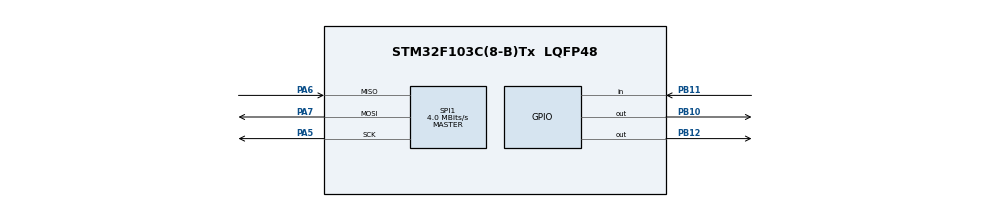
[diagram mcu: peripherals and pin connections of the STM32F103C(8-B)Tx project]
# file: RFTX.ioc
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Mcu.Family=STM32F1
Mcu.Name=STM32F103C(8-B)Tx
Mcu.Package=LQFP48
NVIC.PriorityGroup=NVIC_PRIORITYGROUP_4
PA5.Mode=Full_Duplex_Master
PA5.Signal=SPI1_SCK
PA6.Mode=Full_Duplex_Master
PA6.Signal=SPI1_MISO
PA7.Mode=Full_Duplex_Master
PA7.Signal=SPI1_MOSI
PB10.Signal=GPIO_Output
PB11.GPIO_PuPd=GPIO_PULLUP
PB11.Signal=GPIO_Input
PB12.Signal=GPIO_Output
ProjectManager.HeapSize=0x200
ProjectManager.StackSize=0x400
ProjectManager.TargetToolchain=STM32CubeIDE
RCC.APB1Freq_Value=8000000
RCC.APB2Freq_Value=8000000
SPI1.CalculateBaudRate=4.0 MBits/s
SPI1.Direction=SPI_DIRECTION_2LINES
SPI1.Mode=SPI_MODE_MASTER
SPI1.VirtualType=VM_MASTER
VP_SYS_VS_ND.Mode=No_Debug
board=custom

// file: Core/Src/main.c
/* USER CODE BEGIN Header */
/**
  ******************************************************************************
  * @file           : main.c
  * @brief          : Main program body
  ******************************************************************************
  * @attention
  *
  * Copyright (c) 2025 STMicroelectronics.
  * All rights reserved.
  *
  * This software is licensed under terms that can be found in the LICENSE file
  * in the root directory of this software component.
  * If no LICENSE file comes with this software, it is provided AS-IS.
  *
  ******************************************************************************
  */
/* USER CODE END Header */
#include "main.h"

/* USER CODE BEGIN Includes */
#include "nrf24l01.h"
/* USER CODE END Includes */

/* USER CODE BEGIN PD */
#define SIZE_TX_BUF 1
/* USER CODE END PD */

SPI_HandleTypeDef hspi1;
/* USER CODE BEGIN PV */
nrf24 nrfTx;
uint8_t status_tx;
uint8_t tx_data[SIZE_TX_BUF]={"1"};
uint8_t txAddr[] = {0xEA, 0xDD, 0xCC, 0xBB, 0xAA};
/* USER CODE END PV */

void SystemClock_Config(void);
static void MX_GPIO_Init(void);
static void MX_SPI1_Init(void);

int main(void)
{

  /* USER CODE BEGIN 1 */
	//pines
	/*
	 * PA5 SCK
	 * PA6 MISO
	 * PA7 MOSI
	 *
	 * PB10 CE
	 * PB11 IRQ
	 * PB12 CSN
	 *
	 * */
  /* USER CODE END 1 */

  /* MCU Configuration--------------------------------------------------------*/

  /* Reset of all peripherals, Initializes the Flash interface and the Systick. */
  HAL_Init();

  /* Configure the system clock */
  SystemClock_Config();

  /* Initialize all configured peripherals */
  MX_GPIO_Init();
  MX_SPI1_Init();
  /* USER CODE BEGIN 2 */
  	nrfTx.CE_port = GPIOB;
    nrfTx.CE_pin = GPIO_PIN_10;//DISPARA LA TRANSMISION
    nrfTx.CSN_port = GPIOB;
    nrfTx.CSN_pin = GPIO_PIN_12;//HABILITA LA COMUNICACION POR SPI
    nrfTx.IRQ_port=GPIOB;
    nrfTx.IRQ_pin = GPIO_PIN_11;//DETECTA SI SE RECIBIO ALGUN DATO
    nrfTx.hSPIx = &hspi1;
  	NRF24_Init(&nrfTx);
  	NRF24_Set_TxAddress(&nrfTx,txAddr);
  /* USER CODE END 2 */

  /* Infinite loop */
  while (1)
  {

    /* USER CODE BEGIN 3 */
	  NRF24_Set_Mode(&nrfTx, TX_MODE);
	  		status_tx = NRF24_Transmit(&nrfTx, tx_data, sizeof(tx_data));

	  		if(status_tx == 1)
	  		{
	  			NRF24_Set_Mode(&nrfTx, STANDBY);
	  		}
	  		HAL_Delay(20);
  }
  /* USER CODE END 3 */
}

void SystemClock_Config(void)
{
  RCC_OscInitTypeDef RCC_OscInitStruct = {0};
  RCC_ClkInitTypeDef RCC_ClkInitStruct = {0};

  /** Initializes the RCC Oscillators according to the specified parameters
  * in the RCC_OscInitTypeDef structure.
  */
  RCC_OscInitStruct.OscillatorType = RCC_OSCILLATORTYPE_HSI;
  RCC_OscInitStruct.HSIState = RCC_HSI_ON;
  RCC_OscInitStruct.HSICalibrationValue = RCC_HSICALIBRATION_DEFAULT;
  RCC_OscInitStruct.PLL.PLLState = RCC_PLL_NONE;
  if (HAL_RCC_OscConfig(&RCC_OscInitStruct) != HAL_OK)
  {
    Error_Handler();
  }

  /** Initializes the CPU, AHB and APB buses clocks
  */
  RCC_ClkInitStruct.ClockType = RCC_CLOCKTYPE_HCLK|RCC_CLOCKTYPE_SYSCLK
                              |RCC_CLOCKTYPE_PCLK1|RCC_CLOCKTYPE_PCLK2;
  RCC_ClkInitStruct.SYSCLKSource = RCC_SYSCLKSOURCE_HSI;
  RCC_ClkInitStruct.AHBCLKDivider = RCC_SYSCLK_DIV1;
  RCC_ClkInitStruct.APB1CLKDivider = RCC_HCLK_DIV1;
  RCC_ClkInitStruct.APB2CLKDivider = RCC_HCLK_DIV1;

  if (HAL_RCC_ClockConfig(&RCC_ClkInitStruct, FLASH_LATENCY_0) != HAL_OK)
  {
    Error_Handler();
  }
}

static void MX_SPI1_Init(void)
{

  /* SPI1 parameter configuration*/
  hspi1.Instance = SPI1;
  hspi1.Init.Mode = SPI_MODE_MASTER;
  hspi1.Init.Direction = SPI_DIRECTION_2LINES;
  hspi1.Init.DataSize = SPI_DATASIZE_8BIT;
  hspi1.Init.CLKPolarity = SPI_POLARITY_LOW;
  hspi1.Init.CLKPhase = SPI_PHASE_1EDGE;
  hspi1.Init.NSS = SPI_NSS_SOFT;
  hspi1.Init.BaudRatePrescaler = SPI_BAUDRATEPRESCALER_2;
  hspi1.Init.FirstBit = SPI_FIRSTBIT_MSB;
  hspi1.Init.TIMode = SPI_TIMODE_DISABLE;
  hspi1.Init.CRCCalculation = SPI_CRCCALCULATION_DISABLE;
  hspi1.Init.CRCPolynomial = 10;
  if (HAL_SPI_Init(&hspi1) != HAL_OK)
  {
    Error_Handler();
  }

}

static void MX_GPIO_Init(void)
{
  GPIO_InitTypeDef GPIO_InitStruct = {0};

  /* GPIO Ports Clock Enable */
  __HAL_RCC_GPIOA_CLK_ENABLE();
  __HAL_RCC_GPIOB_CLK_ENABLE();

  /*Configure GPIO pin Output Level */
  HAL_GPIO_WritePin(GPIOB, GPIO_PIN_10|GPIO_PIN_12, GPIO_PIN_RESET);

  /*Configure GPIO pins : PB10 PB12 */
  GPIO_InitStruct.Pin = GPIO_PIN_10|GPIO_PIN_12;
  GPIO_InitStruct.Mode = GPIO_MODE_OUTPUT_PP;
  GPIO_InitStruct.Pull = GPIO_NOPULL;
  GPIO_InitStruct.Speed = GPIO_SPEED_FREQ_LOW;
  HAL_GPIO_Init(GPIOB, &GPIO_InitStruct);

  /*Configure GPIO pin : PB11 */
  GPIO_InitStruct.Pin = GPIO_PIN_11;
  GPIO_InitStruct.Mode = GPIO_MODE_INPUT;
  GPIO_InitStruct.Pull = GPIO_PULLUP;
  HAL_GPIO_Init(GPIOB, &GPIO_InitStruct);

}

void Error_Handler(void)
{
  __disable_irq();
  while (1)
  {
  }
}
